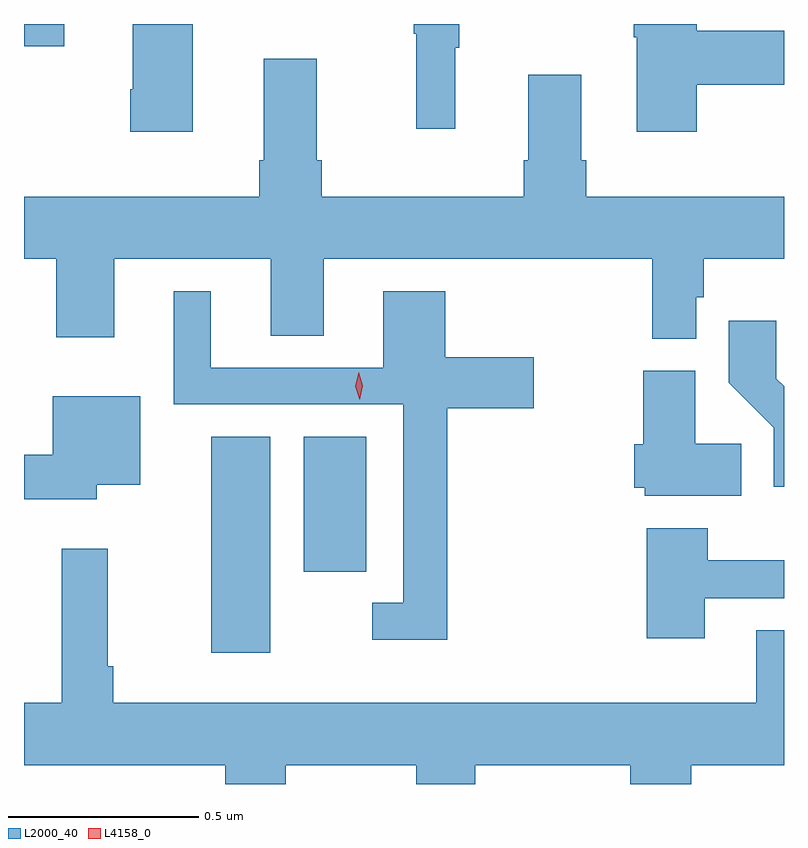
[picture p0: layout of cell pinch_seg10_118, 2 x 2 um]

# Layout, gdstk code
import gdstk
lib = gdstk.Library(unit=1e-6, precision=1e-09)
def R(c, l, rs):  # rectangles x0, y0, x1, y1
    for r in rs: c.add(gdstk.rectangle(r[:2], r[2:], *l))
def P(c, l, *ps):  # polygons
    for p in ps: c.add(gdstk.Polygon(p, *l))
L2000_40 = (2000, 40)
L4158_0 = (4158, 0)

pinch_seg10_118 = lib.new_cell('pinch_seg10_118')
R(pinch_seg10_118, L2000_40, [(648.845,1292.619,649,1293.188), (649.088,1292.832,649.252,1293.188), (648.352,1294.215,648.458,1294.274)])
P(pinch_seg10_118, L2000_40, [(650.123,1294.114),(650.352,1294.114),(650.352,1294.256),(650.123,1294.256),(650.123,1294.274),(649.957,1294.274),(649.957,1294.239),(649.964,1294.239),(649.964,1293.99),(650.123,1293.99)],
  [(649.487,1294.211),(649.498,1294.211),(649.498,1294.274),(649.377,1294.274),(649.377,1294.248),(649.384,1294.248),(649.384,1293.999),(649.487,1293.999)],
  [(648.796,1294.274),(648.638,1294.274),(648.638,1294.102),(648.631,1294.102),(648.631,1293.99),(648.796,1293.99)],
  [(650.121,1293.555),(650.141,1293.555),(650.141,1293.656),(650.352,1293.656),(650.352,1293.82),(649.832,1293.82),(649.832,1293.916),(649.819,1293.916),(649.819,1294.141),(649.679,1294.141),(649.679,1293.916),(649.667,1293.916),(649.667,1293.82),(649.136,1293.82),(649.136,1293.916),(649.123,1293.916),(649.123,1294.183),(648.983,1294.183),(648.983,1293.916),(648.971,1293.916),(648.971,1293.82),(648.352,1293.82),(648.352,1293.656),(648.437,1293.656),(648.437,1293.45),(648.589,1293.45),(648.589,1293.656),(649.001,1293.656),(649.001,1293.454),(649.141,1293.454),(649.141,1293.656),(650.005,1293.656),(650.005,1293.446),(650.121,1293.446)],
  [(649.466,1293.263),(649.693,1293.263),(649.693,1293.397),(649.46,1293.397),(649.46,1293.571),(649.298,1293.571),(649.298,1293.369),(648.844,1293.369),(648.844,1293.571),(648.746,1293.571),(648.746,1293.273),(649.35,1293.273),(649.35,1292.751),(649.269,1292.751),(649.269,1292.654),(649.466,1292.654)],
  [(650.352,1293.321),(650.332,1293.341),(650.332,1293.493),(650.206,1293.493),(650.206,1293.33),(650.325,1293.211),(650.325,1293.056),(650.352,1293.056)],
  [(650.24,1293.17),(650.119,1293.17),(650.119,1293.361),(649.982,1293.361),(649.982,1293.168),(649.958,1293.168),(649.958,1293.054),(649.986,1293.054),(649.986,1293.032),(650.24,1293.032)],
  [(648.544,1293.062),(648.658,1293.062),(648.658,1293.295),(648.428,1293.295),(648.428,1293.14),(648.352,1293.14),(648.352,1293.023),(648.544,1293.023)],
  [(650.143,1292.763),(650.352,1292.763),(650.352,1292.863),(650.151,1292.863),(650.151,1292.947),(649.991,1292.947),(649.991,1292.658),(650.143,1292.658)],
  [(649.041,1292.324),(649.384,1292.324),(649.384,1292.274),(649.539,1292.274),(649.539,1292.324),(649.948,1292.324),(649.948,1292.274),(650.108,1292.274),(650.108,1292.324),(650.352,1292.324),(650.352,1292.678),(650.279,1292.678),(650.279,1292.488),(648.587,1292.488),(648.587,1292.584),(648.572,1292.584),(648.572,1292.893),(648.451,1292.893),(648.451,1292.488),(648.352,1292.488),(648.352,1292.324),(648.881,1292.324),(648.881,1292.274),(649.041,1292.274)])
P(pinch_seg10_118, L4158_0, [(649.235,1293.285),(649.235,1293.285),(649.224,1293.321),(649.233,1293.357),(649.233,1293.357),(649.233,1293.357),(649.244,1293.322),(649.236,1293.285)])

lib.write_gds('pinch_seg10_118.gds')
